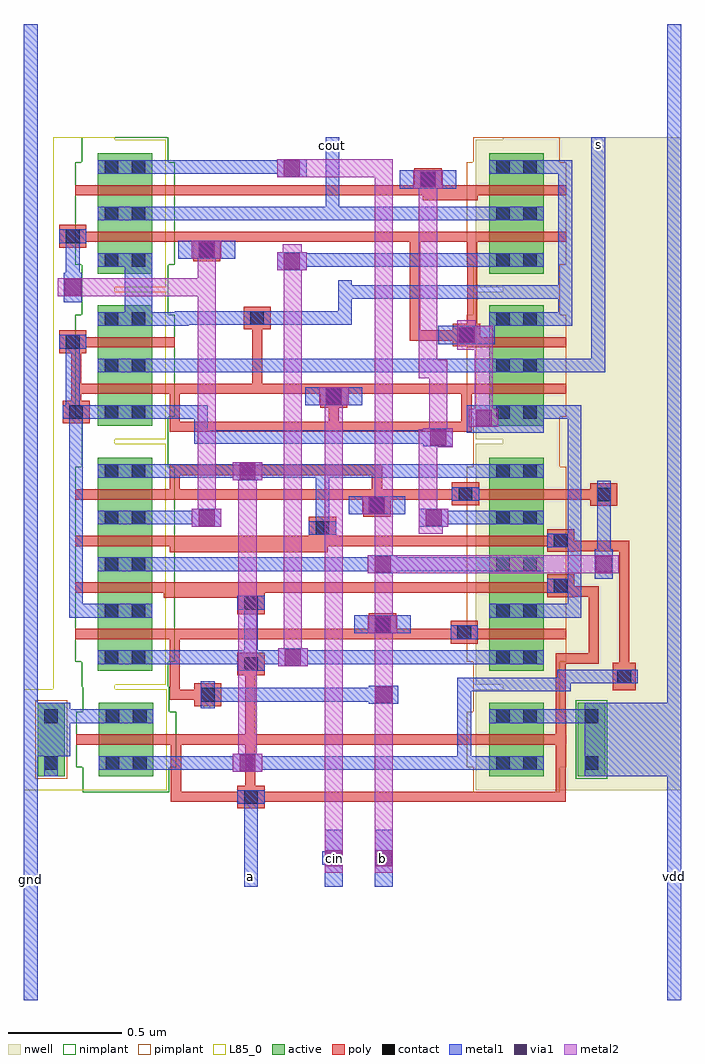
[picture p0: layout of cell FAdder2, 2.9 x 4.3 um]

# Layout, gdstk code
from math import pi, radians
import gdstk
lib = gdstk.Library(unit=1e-6, precision=5e-10)
def R(c, l, rs):  # rectangles x0, y0, x1, y1
    for r in rs: c.add(gdstk.rectangle(r[:2], r[2:], *l))
active = (1, 0)
nwell = (2, 0)
poly = (3, 0)
nimplant = (4, 0)
pimplant = (5, 0)
contact = (6, 0)
metal1 = (7, 0)
via1 = (8, 0)
metal2 = (9, 0)
L85_0 = (85, 0)

pmos1v_cdns_765592389490 = lib.new_cell('pmos1v_CDNS_765592389490')
R(pmos1v_cdns_765592389490, active, [(-0.14,0,0,0.24), (0,0,0.045,0.24), (0.045,0,0.095,0.24)])
R(pmos1v_cdns_765592389490, nwell, [(-0.2,-0.06,0.155,0.3)])
R(pmos1v_cdns_765592389490, poly, [(0,-0.1,0.045,-0.05), (0,-0.05,0.045,0), (0,0,0.045,0.24), (0,0.24,0.045,0.29), (0,0.29,0.045,0.34)])
R(pmos1v_cdns_765592389490, pimplant, [(-0.1,-0.1,0.145,0.34), (-0.21,-0.07,0.165,0.31)])
R(pmos1v_cdns_765592389490, contact, [(-0.11,0.03,-0.05,0.09), (-0.11,0.15,-0.05,0.21)])
R(pmos1v_cdns_765592389490, metal1, [(-0.11,0,-0.05,0.24)])

nmos1v_cdns_765592389491 = lib.new_cell('nmos1v_CDNS_765592389491')
R(nmos1v_cdns_765592389491, active, [(-0.14,0,0,0.24), (0,0,0.045,0.24), (0.045,0,0.185,0.24), (-0.14,0.39,0.185,0.51)])
R(nmos1v_cdns_765592389491, poly, [(0,-0.1,0.045,-0.05), (0,-0.05,0.045,0), (0,0,0.045,0.24), (0,0.24,0.045,0.29), (0,0.29,0.045,0.34)])
R(nmos1v_cdns_765592389491, nimplant, [(-0.1,-0.1,0.145,0.34), (-0.21,-0.07,0.255,0.31)])
R(nmos1v_cdns_765592389491, pimplant, [(-0.15,0.38,0.195,0.52)])
R(nmos1v_cdns_765592389491, contact, [(-0.11,0.03,-0.05,0.09), (0.095,0.03,0.155,0.09), (-0.11,0.15,-0.05,0.21), (0.095,0.15,0.155,0.21), (-0.11,0.42,-0.05,0.48), (0.095,0.42,0.155,0.48)])
R(nmos1v_cdns_765592389491, metal1, [(-0.11,0,-0.05,0.24), (0.095,0,0.155,0.24), (-0.14,0.42,0.185,0.48)])
R(nmos1v_cdns_765592389491, L85_0, [(-0.2,-0.06,0.245,0.57)])

nmos1v_cdns_765592389492 = lib.new_cell('nmos1v_CDNS_765592389492')
R(nmos1v_cdns_765592389492, active, [(-0.11,0,0,0.24), (0,0,0.045,0.24), (0.045,0,0.155,0.24)])
R(nmos1v_cdns_765592389492, poly, [(0,-0.1,0.045,-0.05), (0,-0.05,0.045,0), (0,0,0.045,0.24), (0,0.24,0.045,0.29), (0,0.29,0.045,0.34)])
R(nmos1v_cdns_765592389492, nimplant, [(-0.1,-0.1,0.145,0.34), (-0.18,-0.07,0.225,0.31)])
R(nmos1v_cdns_765592389492, contact, [(-0.11,0.03,-0.05,0.09), (0.095,0.03,0.155,0.09), (-0.11,0.15,-0.05,0.21), (0.095,0.15,0.155,0.21)])
R(nmos1v_cdns_765592389492, metal1, [(-0.11,0,-0.05,0.24), (0.095,0,0.155,0.24)])
R(nmos1v_cdns_765592389492, L85_0, [(-0.17,-0.06,0.215,0.3)])

nmos1v_cdns_765592389493 = lib.new_cell('nmos1v_CDNS_765592389493')
R(nmos1v_cdns_765592389493, active, [(-0.05,0,0,0.24), (0,0,0.045,0.24), (0.045,0,0.185,0.24)])
R(nmos1v_cdns_765592389493, poly, [(0,-0.1,0.045,-0.05), (0,-0.05,0.045,0), (0,0,0.045,0.24), (0,0.24,0.045,0.29), (0,0.29,0.045,0.34)])
R(nmos1v_cdns_765592389493, nimplant, [(-0.1,-0.1,0.145,0.34), (-0.12,-0.07,0.255,0.31)])
R(nmos1v_cdns_765592389493, contact, [(0.095,0.03,0.155,0.09), (0.095,0.15,0.155,0.21)])
R(nmos1v_cdns_765592389493, metal1, [(0.095,0,0.155,0.24)])
R(nmos1v_cdns_765592389493, L85_0, [(-0.11,-0.06,0.245,0.3)])

pmos1v_cdns_765592389494 = lib.new_cell('pmos1v_CDNS_765592389494')
R(pmos1v_cdns_765592389494, active, [(-0.05,0,0,0.24), (0,0,0.045,0.24), (0.045,0,0.155,0.24)])
R(pmos1v_cdns_765592389494, nwell, [(-0.11,-0.06,0.215,0.3)])
R(pmos1v_cdns_765592389494, poly, [(0,-0.1,0.045,-0.05), (0,-0.05,0.045,0), (0,0,0.045,0.24), (0,0.24,0.045,0.29), (0,0.29,0.045,0.34)])
R(pmos1v_cdns_765592389494, pimplant, [(-0.1,-0.1,0.145,0.34), (-0.12,-0.07,0.225,0.31)])
R(pmos1v_cdns_765592389494, contact, [(0.095,0.03,0.155,0.09), (0.095,0.15,0.155,0.21)])
R(pmos1v_cdns_765592389494, metal1, [(0.095,0,0.155,0.24)])

pmos1v_cdns_765592389495 = lib.new_cell('pmos1v_CDNS_765592389495')
R(pmos1v_cdns_765592389495, active, [(-0.14,0,0,0.24), (0,0,0.045,0.24), (0.045,0,0.095,0.24)])
R(pmos1v_cdns_765592389495, nwell, [(-0.2,-0.06,0.155,0.3)])
R(pmos1v_cdns_765592389495, poly, [(0,-0.1,0.045,-0.05), (0,-0.05,0.045,0), (0,0,0.045,0.24), (0,0.24,0.045,0.29), (0,0.29,0.045,0.34)])
R(pmos1v_cdns_765592389495, pimplant, [(-0.1,-0.1,0.145,0.34), (-0.21,-0.07,0.165,0.31)])
R(pmos1v_cdns_765592389495, contact, [(-0.11,0.03,-0.05,0.09), (-0.11,0.15,-0.05,0.21)])
R(pmos1v_cdns_765592389495, metal1, [(-0.11,0,-0.05,0.24)])

nmos1v_cdns_765592389496 = lib.new_cell('nmos1v_CDNS_765592389496')
R(nmos1v_cdns_765592389496, active, [(-0.05,0,0,0.24), (0,0,0.045,0.24), (0.045,0,0.095,0.24)])
R(nmos1v_cdns_765592389496, poly, [(0,-0.1,0.045,-0.05), (0,-0.05,0.045,0), (0,0,0.045,0.24), (0,0.24,0.045,0.29), (0,0.29,0.045,0.34)])
R(nmos1v_cdns_765592389496, nimplant, [(-0.1,-0.1,0.145,0.34), (-0.12,-0.07,0.165,0.31)])
R(nmos1v_cdns_765592389496, L85_0, [(-0.11,-0.06,0.155,0.3)])

pmos1v_cdns_765592389497 = lib.new_cell('pmos1v_CDNS_765592389497')
R(pmos1v_cdns_765592389497, active, [(-0.11,0,0,0.24), (0,0,0.045,0.24), (0.045,0,0.155,0.24)])
R(pmos1v_cdns_765592389497, nwell, [(-0.17,-0.06,0.215,0.3)])
R(pmos1v_cdns_765592389497, poly, [(0,-0.1,0.045,-0.05), (0,-0.05,0.045,0), (0,0,0.045,0.24), (0,0.24,0.045,0.29), (0,0.29,0.045,0.34)])
R(pmos1v_cdns_765592389497, pimplant, [(-0.1,-0.1,0.145,0.34), (-0.18,-0.07,0.225,0.31)])
R(pmos1v_cdns_765592389497, contact, [(-0.11,0.03,-0.05,0.09), (0.095,0.03,0.155,0.09), (-0.11,0.15,-0.05,0.21), (0.095,0.15,0.155,0.21)])
R(pmos1v_cdns_765592389497, metal1, [(-0.11,0,-0.05,0.24), (0.095,0,0.155,0.24)])

pmos1v_cdns_765592389498 = lib.new_cell('pmos1v_CDNS_765592389498')
R(pmos1v_cdns_765592389498, active, [(-0.14,-0.27,0.185,-0.15), (-0.14,0,0,0.24), (0,0,0.045,0.24), (0.045,0,0.185,0.24)])
R(pmos1v_cdns_765592389498, nwell, [(-0.2,-0.33,0.245,0.3)])
R(pmos1v_cdns_765592389498, poly, [(0,-0.1,0.045,-0.05), (0,-0.05,0.045,0), (0,0,0.045,0.24), (0,0.24,0.045,0.29), (0,0.29,0.045,0.34)])
R(pmos1v_cdns_765592389498, nimplant, [(-0.15,-0.28,0.195,-0.14)])
R(pmos1v_cdns_765592389498, pimplant, [(-0.1,-0.1,0.145,0.34), (-0.21,-0.07,0.255,0.31)])
R(pmos1v_cdns_765592389498, contact, [(-0.11,-0.24,-0.05,-0.18), (0.095,-0.24,0.155,-0.18), (-0.11,0.03,-0.05,0.09), (0.095,0.03,0.155,0.09), (-0.11,0.15,-0.05,0.21), (0.095,0.15,0.155,0.21)])
R(pmos1v_cdns_765592389498, metal1, [(-0.14,-0.24,0.185,-0.18), (-0.11,0,-0.05,0.24), (0.095,0,0.155,0.24)])

pmos1v_cdns_765592389499 = lib.new_cell('pmos1v_CDNS_765592389499')
R(pmos1v_cdns_765592389499, active, [(-0.14,0,0,0.24), (0,0,0.045,0.24), (0.045,0,0.155,0.24)])
R(pmos1v_cdns_765592389499, nwell, [(-0.2,-0.06,0.215,0.3)])
R(pmos1v_cdns_765592389499, poly, [(0,-0.1,0.045,-0.05), (0,-0.05,0.045,0), (0,0,0.045,0.24), (0,0.24,0.045,0.29), (0,0.29,0.045,0.34)])
R(pmos1v_cdns_765592389499, pimplant, [(-0.1,-0.1,0.145,0.34), (-0.21,-0.07,0.225,0.31)])
R(pmos1v_cdns_765592389499, contact, [(-0.11,0.03,-0.05,0.09), (0.095,0.03,0.155,0.09), (-0.11,0.15,-0.05,0.21), (0.095,0.15,0.155,0.21)])
R(pmos1v_cdns_765592389499, metal1, [(-0.11,0,-0.05,0.24), (0.095,0,0.155,0.24)])

c_nmos1v_cdns_765592389491 = lib.new_cell('nmos1v_CDNS_7655923894910')
R(c_nmos1v_cdns_765592389491, active, [(-0.11,0,0,0.24), (0,0,0.045,0.24), (0.045,0,0.185,0.24)])
R(c_nmos1v_cdns_765592389491, poly, [(0,-0.1,0.045,-0.05), (0,-0.05,0.045,0), (0,0,0.045,0.24), (0,0.24,0.045,0.29), (0,0.29,0.045,0.34)])
R(c_nmos1v_cdns_765592389491, nimplant, [(-0.1,-0.1,0.145,0.34), (-0.18,-0.07,0.255,0.31)])
R(c_nmos1v_cdns_765592389491, contact, [(-0.11,0.03,-0.05,0.09), (0.095,0.03,0.155,0.09), (-0.11,0.15,-0.05,0.21), (0.095,0.15,0.155,0.21)])
R(c_nmos1v_cdns_765592389491, metal1, [(-0.11,0,-0.05,0.24), (0.095,0,0.155,0.24)])
R(c_nmos1v_cdns_765592389491, L85_0, [(-0.17,-0.06,0.245,0.3)])

m1_po_cdns_765592389490 = lib.new_cell('M1_PO_CDNS_765592389490')
R(m1_po_cdns_765592389490, poly, [(-0.05,-0.06,0.05,0.06)])
R(m1_po_cdns_765592389490, contact, [(-0.03,-0.03,0.03,0.03)])
R(m1_po_cdns_765592389490, metal1, [(-0.03,-0.06,0.03,0.06)])

m2_m1_cdns_765592389491 = lib.new_cell('M2_M1_CDNS_765592389491')
R(m2_m1_cdns_765592389491, metal1, [(-0.04,-0.065,0.04,0.065)])
R(m2_m1_cdns_765592389491, via1, [(-0.035,-0.035,0.035,0.035)])
R(m2_m1_cdns_765592389491, metal2, [(-0.04,-0.065,0.04,0.065)])

m2_m1_cdns_765592389492 = lib.new_cell('M2_M1_CDNS_765592389492')
R(m2_m1_cdns_765592389492, metal1, [(-0.04,-0.125,0.04,0.125)])
R(m2_m1_cdns_765592389492, via1, [(-0.035,-0.035,0.035,0.035)])
R(m2_m1_cdns_765592389492, metal2, [(-0.04,-0.065,0.04,0.065)])

m1_po_cdns_765592389493 = lib.new_cell('M1_PO_CDNS_765592389493')
R(m1_po_cdns_765592389493, poly, [(-0.05,-0.06,0.05,0.06)])
R(m1_po_cdns_765592389493, contact, [(-0.03,-0.03,0.03,0.03)])
R(m1_po_cdns_765592389493, metal1, [(-0.04,-0.125,0.04,0.125)])

m2_m1_cdns_765592389494 = lib.new_cell('M2_M1_CDNS_765592389494')
R(m2_m1_cdns_765592389494, metal1, [(-0.04,-0.065,0.04,0.065)])
R(m2_m1_cdns_765592389494, via1, [(-0.035,-0.035,0.035,0.035)])
R(m2_m1_cdns_765592389494, metal2, [(-0.065,-0.04,0.065,0.04)])

m2_m1_cdns_765592389495 = lib.new_cell('M2_M1_CDNS_765592389495')
R(m2_m1_cdns_765592389495, metal1, [(-0.125,-0.04,0.125,0.04)])
R(m2_m1_cdns_765592389495, via1, [(-0.035,-0.035,0.035,0.035)])
R(m2_m1_cdns_765592389495, metal2, [(-0.065,-0.04,0.065,0.04)])

m1_po_cdns_765592389496 = lib.new_cell('M1_PO_CDNS_765592389496')
R(m1_po_cdns_765592389496, poly, [(-0.06,-0.05,0.06,0.05)])
R(m1_po_cdns_765592389496, contact, [(-0.03,-0.03,0.03,0.03)])
R(m1_po_cdns_765592389496, metal1, [(-0.06,-0.03,0.06,0.03)])

m1_po_cdns_765592389497 = lib.new_cell('M1_PO_CDNS_765592389497')
R(m1_po_cdns_765592389497, poly, [(-0.05,-0.06,0.05,0.06)])
R(m1_po_cdns_765592389497, contact, [(-0.03,-0.03,0.03,0.03)])
R(m1_po_cdns_765592389497, metal1, [(-0.06,-0.03,0.06,0.03)])

m1_po_cdns_765592389498 = lib.new_cell('M1_PO_CDNS_765592389498')
R(m1_po_cdns_765592389498, poly, [(-0.06,-0.05,0.06,0.05)])
R(m1_po_cdns_765592389498, contact, [(-0.03,-0.03,0.03,0.03)])
R(m1_po_cdns_765592389498, metal1, [(-0.03,-0.06,0.03,0.06)])

m2_m1_cdns_765592389499 = lib.new_cell('M2_M1_CDNS_765592389499')
R(m2_m1_cdns_765592389499, metal1, [(-0.065,-0.04,0.065,0.04)])
R(m2_m1_cdns_765592389499, via1, [(-0.035,-0.035,0.035,0.035)])
R(m2_m1_cdns_765592389499, metal2, [(-0.04,-0.065,0.04,0.065)])

fadder2 = lib.new_cell('FAdder2')
R(fadder2, nwell, [(3.165,1.355,3.44,4.23), (2.655,1.7,2.895,1.865), (2.895,1.8,3.165,4.23), (2.655,2.855,2.895,2.93), (2.655,3.525,2.895,3.6), (2.655,4.195,2.895,4.23)])
R(fadder2, metal1, [(0.545,0.93,0.605,0.99), (1.515,0.93,1.575,0.99), (3.38,0.945,3.44,1.005), (1.885,1.025,1.945,1.085), (2.095,1.025,2.155,1.085), (1.875,4.17,1.935,4.23), (3.045,4.17,3.105,4.23)])
R(fadder2, L85_0, [(0.675,1.8,0.945,4.23)])
fadder2.add(gdstk.FlexPath([(2.52,3.36),(2.52,3.3225)], 0.045, ends=(0.0225, 0.0175), simple_path=True, layer=3, datatype=0))  # poly
fadder2.add(gdstk.FlexPath([(2.495,3.36),(2.52,3.36)], 0.045, ends="extended", simple_path=True, layer=3, datatype=0))  # poly
fadder2.add(gdstk.FlexPath([(2.52,3.815),(2.52,3.305)], 0.045, ends="flush", simple_path=True, layer=3, datatype=0))  # poly
fadder2.add(gdstk.FlexPath([(0.76,3.7925),(0.76,3.795)], 0.045, ends="flush", simple_path=True, layer=3, datatype=0))  # poly
fadder2.add(gdstk.FlexPath([(0.82,3.7925),(0.76,3.7925)], 0.045, ends=(0, 0.06), simple_path=True, layer=3, datatype=0))  # poly
fadder2.add(gdstk.FlexPath([(1.545,1.325),(1.5425,1.325)], 0.045, ends="extended", simple_path=True, layer=3, datatype=0))  # poly
fadder2.add(gdstk.FlexPath([(1.5425,1.91),(1.545,1.91)], 0.045, ends="extended", simple_path=True, layer=3, datatype=0))  # poly
fadder2.add(gdstk.FlexPath([(1.215,1.325),(1.215,1.6)], 0.045, ends=(0.0225, 0), simple_path=True, layer=3, datatype=0))  # poly
fadder2.add(gdstk.FlexPath([(1.545,1.325),(1.215,1.325)], 0.045, ends="extended", simple_path=True, layer=3, datatype=0))  # poly
fadder2.add(gdstk.FlexPath([(3.055,2.23),(2.885,2.23)], 0.045, ends=(0.0225, 0), simple_path=True, layer=3, datatype=0))  # poly
fadder2.add(gdstk.FlexPath([(3.055,1.935),(3.055,2.23)], 0.045, ends="extended", simple_path=True, layer=3, datatype=0))  # poly
fadder2.add(gdstk.FlexPath([(2.91,1.935),(3.055,1.935)], 0.045, ends="extended", simple_path=True, layer=3, datatype=0))  # poly
fadder2.add(gdstk.FlexPath([(2.91,1.555),(2.91,1.935)], 0.045, ends=(0, 0.0225), simple_path=True, layer=3, datatype=0))  # poly
fadder2.add(gdstk.FlexPath([(1.545,2.225),(1.1825,2.225)], 0.045, ends="extended", simple_path=True, layer=3, datatype=0))  # poly
fadder2.add(gdstk.FlexPath([(1.545,2.18),(1.545,2.225)], 0.045, ends="extended", simple_path=True, layer=3, datatype=0))  # poly
fadder2.add(gdstk.FlexPath([(2.91,2.25),(2.91,2.255)], 0.045, ends="flush", simple_path=True, layer=3, datatype=0))  # poly
fadder2.add(gdstk.FlexPath([(2.91,1.325),(1.545,1.325)], 0.045, ends="extended", simple_path=True, layer=3, datatype=0))  # poly
fadder2.add(gdstk.FlexPath([(2.91,1.6),(2.91,1.325)], 0.045, ends=(0, 0.0225), simple_path=True, layer=3, datatype=0))  # poly
fadder2.add(gdstk.FlexPath([(1.21,2.765),(1.21,2.635)], 0.045, ends=(0.0225, 0), simple_path=True, layer=3, datatype=0))  # poly
fadder2.add(gdstk.FlexPath([(2.1,2.765),(1.21,2.765)], 0.045, ends="extended", simple_path=True, layer=3, datatype=0))  # poly
fadder2.add(gdstk.FlexPath([(2.1,2.61),(2.1,2.765)], 0.045, ends="extended", simple_path=True, layer=3, datatype=0))  # poly
fadder2.add(gdstk.FlexPath([(2.125,2.0425),(2.125,2.085)], 0.045, ends="extended", simple_path=True, layer=3, datatype=0))  # poly
fadder2.add(gdstk.FlexPath([(2.5225,2.0425),(2.125,2.0425)], 0.045, ends="extended", simple_path=True, layer=3, datatype=0))  # poly
fadder2.add(gdstk.FlexPath([(2.5075,3.3275),(2.5075,3.3575)], 0.045, ends=(0, 0.0225), simple_path=True, layer=3, datatype=0))  # poly
fadder2.add(gdstk.FlexPath([(0.76,3.3275),(0.76,3.33)], 0.045, ends="flush", simple_path=True, layer=3, datatype=0))  # poly
fadder2.add(gdstk.FlexPath([(1.91,3.09),(1.91,2.955)], 0.045, ends="extended", simple_path=True, layer=3, datatype=0))  # poly
fadder2.add(gdstk.FlexPath([(2.545,3.975),(2.325,3.975)], 0.045, ends=(0, 0.0225), simple_path=True, layer=3, datatype=0))  # poly
fadder2.add(gdstk.FlexPath([(2.325,3.975),(2.325,4.045)], 0.045, ends="extended", simple_path=True, layer=3, datatype=0))  # poly
fadder2.add(gdstk.FlexPath([(2.6375,3.9975),(2.64,3.9975)], 0.045, ends="flush", simple_path=True, layer=3, datatype=0))  # poly
fadder2.add(gdstk.FlexPath([(2.325,3.9975),(2.325,4.045)], 0.045, ends=(0.0225, 0.05), simple_path=True, layer=3, datatype=0))  # poly
fadder2.add(gdstk.FlexPath([(2.6375,3.9975),(2.325,3.9975)], 0.045, ends="extended", simple_path=True, layer=3, datatype=0))  # poly
fadder2.add(gdstk.FlexPath([(2.495,2.955),(2.495,3.145)], 0.045, ends=(0.0225, 0), simple_path=True, layer=3, datatype=0))  # poly
fadder2.add(gdstk.FlexPath([(1.91,2.955),(1.21,2.955)], 0.045, ends="extended", simple_path=True, layer=3, datatype=0))  # poly
fadder2.add(gdstk.FlexPath([(1.21,2.955),(1.21,3.145)], 0.045, ends=(0.0225, 0), simple_path=True, layer=3, datatype=0))  # poly
fadder2.add(gdstk.FlexPath([(2.64,3.1225),(1.5725,3.1225)], 0.045, ends=(0.0225, 0), simple_path=True, layer=3, datatype=0))  # poly
fadder2.add(gdstk.FlexPath([(1.5725,3.1225),(1.185,3.1225)], 0.045, ends=(0.0225, 0), simple_path=True, layer=3, datatype=0))  # poly
fadder2.add(gdstk.FlexPath([(2.2675,3.7925),(1.185,3.7925)], 0.045, ends=(0.0225, 0), simple_path=True, layer=3, datatype=0))  # poly
fadder2.add(gdstk.FlexPath([(1.185,3.9975),(2.6375,3.9975)], 0.045, ends="flush", simple_path=True, layer=3, datatype=0))  # poly
fadder2.add(gdstk.FlexPath([(2.485,2.045),(2.485,2.05)], 0.045, ends="flush", simple_path=True, layer=3, datatype=0))  # poly
fadder2.add(gdstk.FlexPath([(1.21,1.775),(1.21,2.065)], 0.045, ends=(0.0225, 0), simple_path=True, layer=3, datatype=0))  # poly
fadder2.add(gdstk.FlexPath([(1.5725,3.1225),(1.5725,3.435)], 0.045, ends=(0.0225, 0.05), simple_path=True, layer=3, datatype=0))  # poly
fadder2.add(gdstk.FlexPath([(0.775,3.02),(0.775,3.3275)], 0.045, ends=(0.05, 0.0225), simple_path=True, layer=3, datatype=0))  # poly
fadder2.add(gdstk.FlexPath([(0.775,3.3275),(0.89,3.3275)], 0.045, ends=(0.0225, 0), simple_path=True, layer=3, datatype=0))  # poly
fadder2.add(gdstk.FlexPath([(1.355,1.775),(1.21,1.775)], 0.045, ends=(0.06, 0.0225), simple_path=True, layer=3, datatype=0))  # poly
fadder2.add(gdstk.FlexPath([(2.885,2.43),(3.19,2.43)], 0.045, ends=(0, 0.0225), simple_path=True, layer=3, datatype=0))  # poly
fadder2.add(gdstk.FlexPath([(1.5425,1.91),(1.5425,1.325)], 0.045, ends="flush", simple_path=True, layer=3, datatype=0))  # poly
fadder2.add(gdstk.FlexPath([(3.19,2.43),(3.19,1.855)], 0.045, ends=(0.0225, 0.06), simple_path=True, layer=3, datatype=0))  # poly
fadder2.add(gdstk.FlexPath([(3.1,2.6575),(2.9075,2.6575)], 0.045, ends=(0.06, 0.0225), simple_path=True, layer=3, datatype=0))  # poly
fadder2.add(gdstk.FlexPath([(2.64,3.7925),(2.2675,3.7925)], 0.045, ends="extended", simple_path=True, layer=3, datatype=0))  # poly
fadder2.add(gdstk.FlexPath([(2.2675,3.3575),(2.2675,3.7925)], 0.045, ends="extended", simple_path=True, layer=3, datatype=0))  # poly
fadder2.add(gdstk.FlexPath([(1.185,2.0425),(2.64,2.0425)], 0.045, ends="flush", simple_path=True, layer=3, datatype=0))  # poly
fadder2.add(gdstk.FlexPath([(1.185,2.6575),(2.64,2.6575)], 0.045, ends="flush", simple_path=True, layer=3, datatype=0))  # poly
fadder2.add(gdstk.FlexPath([(2.5075,3.3575),(2.2675,3.3575)], 0.045, ends="extended", simple_path=True, layer=3, datatype=0))  # poly
fadder2.add(gdstk.FlexPath([(1.91,2.955),(2.495,2.955)], 0.045, ends="extended", simple_path=True, layer=3, datatype=0))  # poly
fadder2.add(gdstk.FlexPath([(1.185,2.4525),(2.64,2.4525)], 0.045, ends="flush", simple_path=True, layer=3, datatype=0))  # poly
fadder2.add(gdstk.FlexPath([(2.64,1.5775),(1.185,1.5775)], 0.045, ends=(0.0225, 0), simple_path=True, layer=3, datatype=0))  # poly
fadder2.add(gdstk.FlexPath([(1.185,2.2475),(2.64,2.2475)], 0.045, ends="flush", simple_path=True, layer=3, datatype=0))  # poly
fadder2.add(gdstk.FlexPath([(1.86,2.425),(1.21,2.425)], 0.045, ends="extended", simple_path=True, layer=3, datatype=0))  # poly
fadder2.add(gdstk.FlexPath([(1.21,2.425),(1.21,2.475)], 0.045, ends=(0.0225, 0), simple_path=True, layer=3, datatype=0))  # poly
fadder2.add(gdstk.FlexPath([(1.86,2.51),(1.86,2.425)], 0.045, ends="extended", simple_path=True, layer=3, datatype=0))  # poly
fadder2.add(gdstk.FlexPath([(0.82,3.3275),(0.76,3.3275)], 0.045, ends=(0, 0.06), simple_path=True, layer=3, datatype=0))  # poly
fadder2.add(gdstk.FlexPath([(0.76,3.57),(0.76,3.795)], 0.06, ends=(0.065, 0.03), simple_path=True, layer=7, datatype=0))  # metal1
fadder2.add(gdstk.FlexPath([(2.775,1.94),(1.73,1.94)], 0.06, ends=(0.03, 0.065), simple_path=True, layer=7, datatype=0))  # metal1
fadder2.add(gdstk.FlexPath([(2.97,2.115),(2.97,2.145)], 0.06, ends=(0, 0.03), simple_path=True, layer=7, datatype=0))  # metal1
fadder2.add(gdstk.FlexPath([(2.775,2.99),(2.57,2.99)], 0.12, ends=(0.06, 0), simple_path=True, layer=7, datatype=0))  # metal1
fadder2.add(gdstk.FlexPath([(2.97,2.145),(2.97,3.02)], 0.06, ends=(0, 0.03), simple_path=True, layer=7, datatype=0))  # metal1
fadder2.add(gdstk.FlexPath([(1.545,0.98),(1.515,0.98)], 0.06, ends=(0.03, 0), simple_path=True, layer=7, datatype=0))  # metal1
fadder2.add(gdstk.FlexPath([(2.57,2.99),(2.57,2.995)], 0.06, ends=(0.03, 0.04), simple_path=True, layer=7, datatype=0))  # metal1
fadder2.add(gdstk.FlexPath([(2.57,2.99),(2.495,2.99)], 0.12, ends=(0.06, 0), simple_path=True, layer=7, datatype=0))  # metal1
fadder2.add(gdstk.FlexPath([(1.11,2.555),(1.35,2.555)], 0.06, ends=(0, 0.065), simple_path=True, layer=7, datatype=0))  # metal1
fadder2.add(gdstk.FlexPath([(1.725,3.685),(1.74,3.685)], 0.06, ends=(0.065, 0.03), simple_path=True, layer=7, datatype=0))  # metal1
fadder2.add(gdstk.FlexPath([(1.74,3.69),(2.775,3.69)], 0.06, ends="extended", simple_path=True, layer=7, datatype=0))  # metal1
fadder2.add(gdstk.FlexPath([(1.545,1.94),(1.05,1.94)], 0.06, ends=(0.03, 0), simple_path=True, layer=7, datatype=0))  # metal1
fadder2.add(gdstk.FlexPath([(1.73,1.94),(1.545,1.94)], 0.06, ends=(0.065, 0), simple_path=True, layer=7, datatype=0))  # metal1
fadder2.add(gdstk.FlexPath([(1.185,3.02),(1.325,3.02)], 0.06, ends="flush", simple_path=True, layer=7, datatype=0))  # metal1
fadder2.add(gdstk.FlexPath([(0.76,3.33),(0.76,3.02)], 0.06, ends="extended", simple_path=True, layer=7, datatype=0))  # metal1
fadder2.add(gdstk.FlexPath([(1.545,1.94),(1.545,1.91)], 0.06, ends="extended", simple_path=True, layer=7, datatype=0))  # metal1
fadder2.add(gdstk.FlexPath([(1.05,2.35),(2.125,2.35)], 0.06, ends=(0, 0.065), simple_path=True, layer=7, datatype=0))  # metal1
fadder2.add(gdstk.FlexPath([(2.125,2.35),(2.775,2.35)], 0.06, ends=(0.065, 0), simple_path=True, layer=7, datatype=0))  # metal1
fadder2.add(gdstk.FlexPath([(1.05,2.76),(1.53,2.76)], 0.06, ends=(0, 0.065), simple_path=True, layer=7, datatype=0))  # metal1
fadder2.add(gdstk.FlexPath([(0.76,3.02),(1.185,3.02)], 0.06, ends="extended", simple_path=True, layer=7, datatype=0))  # metal1
fadder2.add(gdstk.FlexPath([(1.53,1.475),(1.05,1.475)], 0.06, ends=(0.065, 0), simple_path=True, layer=7, datatype=0))  # metal1
fadder2.add(gdstk.FlexPath([(1.53,2.76),(1.86,2.76)], 0.06, ends=(0.065, 0.03), simple_path=True, layer=7, datatype=0))  # metal1
fadder2.add(gdstk.FlexPath([(3.41,0.43),(3.41,4.73)], 0.06, ends="flush", simple_path=True, layer=7, datatype=0))  # metal1
fadder2.add(gdstk.FlexPath([(3.105,3.225),(3.075,3.225)], 0.06, ends="flush", simple_path=True, layer=7, datatype=0))  # metal1
fadder2.add(gdstk.FlexPath([(3.075,3.225),(2.835,3.225)], 0.06, ends="flush", simple_path=True, layer=7, datatype=0))  # metal1
fadder2.add(gdstk.FlexPath([(1.325,3.05),(1.325,3.02)], 0.06, ends=(0, 0.03), simple_path=True, layer=7, datatype=0))  # metal1
fadder2.add(gdstk.FlexPath([(1.325,3.02),(1.325,2.91)], 0.06, ends=(0, 0.03), simple_path=True, layer=7, datatype=0))  # metal1
fadder2.add(gdstk.FlexPath([(1.11,3.02),(1.185,3.02)], 0.06, ends="flush", simple_path=True, layer=7, datatype=0))  # metal1
fadder2.add(gdstk.FlexPath([(0.575,0.43),(0.575,4.73)], 0.06, ends="flush", simple_path=True, layer=7, datatype=0))  # metal1
fadder2.add(gdstk.FlexPath([(2.93,3.55),(2.93,4.1)], 0.06, ends=(0.03, 0), simple_path=True, layer=7, datatype=0))  # metal1
fadder2.add(gdstk.FlexPath([(1.96,3.57),(1.96,3.55)], 0.06, ends=(0, 0.03), simple_path=True, layer=7, datatype=0))  # metal1
fadder2.add(gdstk.FlexPath([(1.24,3.435),(1.5725,3.435)], 0.06, ends=(0.03, 0.06), simple_path=True, layer=7, datatype=0))  # metal1
fadder2.add(gdstk.FlexPath([(1.5725,3.435),(1.96,3.435)], 0.06, ends=(0.06, 0.03), simple_path=True, layer=7, datatype=0))  # metal1
fadder2.add(gdstk.FlexPath([(1.905,3.895),(1.05,3.895)], 0.06, ends="extended", simple_path=True, layer=7, datatype=0))  # metal1
fadder2.add(gdstk.FlexPath([(1.96,3.435),(1.96,3.57)], 0.06, ends="extended", simple_path=True, layer=7, datatype=0))  # metal1
fadder2.add(gdstk.FlexPath([(2.93,3.43),(2.93,4.1)], 0.06, ends="extended", simple_path=True, layer=7, datatype=0))  # metal1
fadder2.add(gdstk.FlexPath([(1.96,3.55),(2.93,3.55)], 0.06, ends="extended", simple_path=True, layer=7, datatype=0))  # metal1
fadder2.add(gdstk.FlexPath([(1.24,3.43),(1.24,3.435)], 0.06, ends="extended", simple_path=True, layer=7, datatype=0))  # metal1
fadder2.add(gdstk.FlexPath([(1.05,3.43),(1.24,3.43)], 0.06, ends=(0, 0.03), simple_path=True, layer=7, datatype=0))  # metal1
fadder2.add(gdstk.FlexPath([(1.725,4.1),(1.725,4.095)], 0.06, ends=(0.03, 0.04), simple_path=True, layer=7, datatype=0))  # metal1
fadder2.add(gdstk.FlexPath([(2.775,1.475),(2.485,1.475)], 0.06, ends=(0, 0.03), simple_path=True, layer=7, datatype=0))  # metal1
fadder2.add(gdstk.FlexPath([(2.715,2.555),(2.35,2.555)], 0.06, ends=(0, 0.065), simple_path=True, layer=7, datatype=0))  # metal1
fadder2.add(gdstk.FlexPath([(2.13,1.775),(1.355,1.775)], 0.06, ends=(0.065, 0.03), simple_path=True, layer=7, datatype=0))  # metal1
fadder2.add(gdstk.FlexPath([(1.325,2.91),(2.37,2.91)], 0.06, ends=(0.03, 0.065), simple_path=True, layer=7, datatype=0))  # metal1
fadder2.add(gdstk.FlexPath([(1.05,3.225),(2.775,3.225)], 0.06, ends="flush", simple_path=True, layer=7, datatype=0))  # metal1
fadder2.add(gdstk.FlexPath([(1.92,1.055),(1.9,1.055)], 0.06, ends=(0.03, 0.04), simple_path=True, layer=7, datatype=0))  # metal1
fadder2.add(gdstk.FlexPath([(2.485,1.475),(1.53,1.475)], 0.06, ends=(0, 0.065), simple_path=True, layer=7, datatype=0))  # metal1
fadder2.add(gdstk.FlexPath([(0.775,3.02),(0.99,3.02)], 0.06, ends=(0.06, 0), simple_path=True, layer=7, datatype=0))  # metal1
fadder2.add(gdstk.FlexPath([(0.99,2.145),(0.775,2.145)], 0.06, ends=(0, 0.03), simple_path=True, layer=7, datatype=0))  # metal1
fadder2.add(gdstk.FlexPath([(0.775,2.145),(0.775,3.02)], 0.06, ends="extended", simple_path=True, layer=7, datatype=0))  # metal1
fadder2.add(gdstk.FlexPath([(1.545,1.325),(1.545,0.98)], 0.06, ends=(0, 0.03), simple_path=True, layer=7, datatype=0))  # metal1
fadder2.add(gdstk.FlexPath([(1.545,2.18),(1.545,1.94)], 0.06, ends="extended", simple_path=True, layer=7, datatype=0))  # metal1
fadder2.add(gdstk.FlexPath([(1.74,3.685),(1.74,3.69)], 0.06, ends="extended", simple_path=True, layer=7, datatype=0))  # metal1
fadder2.add(gdstk.FlexPath([(2.125,1.055),(2.13,1.055)], 0.06, ends=(0.03, 0.04), simple_path=True, layer=7, datatype=0))  # metal1
fadder2.add(gdstk.FlexPath([(2.835,3.43),(2.93,3.43)], 0.06, ends=(0, 0.03), simple_path=True, layer=7, datatype=0))  # metal1
fadder2.add(gdstk.FlexPath([(2.835,2.145),(2.97,2.145)], 0.06, ends="flush", simple_path=True, layer=7, datatype=0))  # metal1
fadder2.add(gdstk.FlexPath([(2.97,3.02),(2.835,3.02)], 0.06, ends=(0.03, 0), simple_path=True, layer=7, datatype=0))  # metal1
fadder2.add(gdstk.FlexPath([(1.905,4.17),(1.905,3.895)], 0.06, ends=(0, 0.03), simple_path=True, layer=7, datatype=0))  # metal1
fadder2.add(gdstk.FlexPath([(3.1,2.35),(3.1,2.6575)], 0.06, ends=(0.065, 0.06), simple_path=True, layer=7, datatype=0))  # metal1
fadder2.add(gdstk.FlexPath([(3.075,1.5775),(3.36,1.5775)], 0.325, ends=(0, 0.03), simple_path=True, layer=7, datatype=0))  # metal1
fadder2.add(gdstk.FlexPath([(2.775,3.895),(1.905,3.895)], 0.06, ends="extended", simple_path=True, layer=7, datatype=0))  # metal1
fadder2.add(gdstk.FlexPath([(3.19,1.855),(2.925,1.855)], 0.06, ends=(0.06, 0.03), simple_path=True, layer=7, datatype=0))  # metal1
fadder2.add(gdstk.FlexPath([(1.05,3.66),(1.05,3.46)], 0.12, ends="flush", simple_path=True, layer=7, datatype=0))  # metal1
fadder2.add(gdstk.FlexPath([(3.075,4.17),(3.075,3.225)], 0.06, ends="flush", simple_path=True, layer=7, datatype=0))  # metal1
fadder2.add(gdstk.FlexPath([(2.93,4.1),(2.76,4.1)], 0.06, ends=(0.03, 0), simple_path=True, layer=7, datatype=0))  # metal1
fadder2.add(gdstk.FlexPath([(2.925,1.855),(2.925,1.82)], 0.06, ends="extended", simple_path=True, layer=7, datatype=0))  # metal1
fadder2.add(gdstk.FlexPath([(2.925,1.82),(2.485,1.82)], 0.06, ends="extended", simple_path=True, layer=7, datatype=0))  # metal1
fadder2.add(gdstk.FlexPath([(2.485,1.82),(2.485,1.475)], 0.06, ends="extended", simple_path=True, layer=7, datatype=0))  # metal1
fadder2.add(gdstk.FlexPath([(1.86,2.76),(1.86,2.51)], 0.06, ends="extended", simple_path=True, layer=7, datatype=0))  # metal1
fadder2.add(gdstk.FlexPath([(0.75,1.6225),(0.63,1.6225)], 0.235, ends=(0, 0.03), simple_path=True, layer=7, datatype=0))  # metal1
fadder2.add(gdstk.FlexPath([(1.05,4.1),(1.725,4.1)], 0.06, ends=(0, 0.03), simple_path=True, layer=7, datatype=0))  # metal1
fadder2.add(gdstk.FlexPath([(0.99,1.68),(0.75,1.68)], 0.06, ends="flush", simple_path=True, layer=7, datatype=0))  # metal1
fadder2.add(gdstk.FlexPath([(2.715,1.68),(3.015,1.68)], 0.06, ends="flush", simple_path=True, layer=7, datatype=0))  # metal1
fadder2.add(gdstk.FlexPath([(1.86,2.76),(2.775,2.76)], 0.06, ends="extended", simple_path=True, layer=7, datatype=0))  # metal1
fadder2.add(gdstk.FlexPath([(1.35,2.555),(1.35,3.57)], 0.08, ends="extended", simple_path=True, layer=9, datatype=0))  # metal2
fadder2.add(gdstk.FlexPath([(2.51,3.36),(2.495,3.36)], 0.08, ends="extended", simple_path=True, layer=9, datatype=0))  # metal2
fadder2.add(gdstk.FlexPath([(1.35,3.57),(0.76,3.57)], 0.08, ends=(0.04, 0.065), simple_path=True, layer=9, datatype=0))  # metal2
fadder2.add(gdstk.FlexPath([(1.35,3.57),(1.35,3.735)], 0.08, ends="extended", simple_path=True, layer=9, datatype=0))  # metal2
fadder2.add(gdstk.FlexPath([(1.725,3.72),(1.73,3.72)], 0.08, ends="extended", simple_path=True, layer=9, datatype=0))  # metal2
fadder2.add(gdstk.FlexPath([(1.725,3.685),(1.725,3.72)], 0.08, ends="extended", simple_path=True, layer=9, datatype=0))  # metal2
fadder2.add(gdstk.FlexPath([(2.13,1.055),(2.13,1.775)], 0.08, ends=(0.065, 0.065), simple_path=True, layer=9, datatype=0))  # metal2
fadder2.add(gdstk.FlexPath([(2.13,2.35),(2.13,2.61)], 0.08, ends=(0, 0.04), simple_path=True, layer=9, datatype=0))  # metal2
fadder2.add(gdstk.FlexPath([(2.13,2.085),(2.13,2.35)], 0.08, ends="extended", simple_path=True, layer=9, datatype=0))  # metal2
fadder2.add(gdstk.FlexPath([(2.13,2.61),(2.13,4.095)], 0.08, ends=(0, 0.04), simple_path=True, layer=9, datatype=0))  # metal2
fadder2.add(gdstk.FlexPath([(2.125,2.085),(2.13,2.085)], 0.08, ends="extended", simple_path=True, layer=9, datatype=0))  # metal2
fadder2.add(gdstk.FlexPath([(2.13,2.61),(2.1,2.61)], 0.08, ends="extended", simple_path=True, layer=9, datatype=0))  # metal2
fadder2.add(gdstk.FlexPath([(2.125,2.35),(2.13,2.35)], 0.08, ends=(0.065, 0.04), simple_path=True, layer=9, datatype=0))  # metal2
fadder2.add(gdstk.FlexPath([(1.725,4.095),(1.715,4.095)], 0.08, ends=(0.065, 0), simple_path=True, layer=9, datatype=0))  # metal2
fadder2.add(gdstk.FlexPath([(2.13,4.095),(1.725,4.095)], 0.08, ends=(0.04, 0.065), simple_path=True, layer=9, datatype=0))  # metal2
fadder2.add(gdstk.FlexPath([(2.37,2.91),(2.37,2.905)], 0.08, ends=(0.04, 0), simple_path=True, layer=9, datatype=0))  # metal2
fadder2.add(gdstk.FlexPath([(2.35,2.555),(2.35,2.525)], 0.08, ends="extended", simple_path=True, layer=9, datatype=0))  # metal2
fadder2.add(gdstk.FlexPath([(2.35,2.525),(2.325,2.525)], 0.08, ends="extended", simple_path=True, layer=9, datatype=0))  # metal2
fadder2.add(gdstk.FlexPath([(2.37,3.21),(2.37,2.905)], 0.08, ends=(0.04, 0.035), simple_path=True, layer=9, datatype=0))  # metal2
fadder2.add(gdstk.FlexPath([(2.325,3.21),(2.37,3.21)], 0.08, ends="extended", simple_path=True, layer=9, datatype=0))  # metal2
fadder2.add(gdstk.FlexPath([(2.325,4.045),(2.325,3.21)], 0.08, ends="extended", simple_path=True, layer=9, datatype=0))  # metal2
fadder2.add(gdstk.FlexPath([(2.325,2.905),(2.37,2.905)], 0.08, ends=(0.04, 0.065), simple_path=True, layer=9, datatype=0))  # metal2
fadder2.add(gdstk.FlexPath([(2.57,2.995),(2.57,3.36)], 0.08, ends="extended", simple_path=True, layer=9, datatype=0))  # metal2
fadder2.add(gdstk.FlexPath([(2.57,3.36),(2.51,3.36)], 0.08, ends="extended", simple_path=True, layer=9, datatype=0))  # metal2
fadder2.add(gdstk.FlexPath([(2.13,2.35),(3.1,2.35)], 0.08, ends=(0.04, 0.065), simple_path=True, layer=9, datatype=0))  # metal2
fadder2.add(gdstk.FlexPath([(2.13,1.775),(2.13,2.085)], 0.08, ends=(0.065, 0.04), simple_path=True, layer=9, datatype=0))  # metal2
fadder2.add(gdstk.FlexPath([(1.53,1.475),(1.53,2.76)], 0.08, ends="extended", simple_path=True, layer=9, datatype=0))  # metal2
fadder2.add(gdstk.FlexPath([(2.325,2.525),(2.325,2.905)], 0.08, ends=(0, 0.04), simple_path=True, layer=9, datatype=0))  # metal2
fadder2.add(gdstk.FlexPath([(1.73,1.94),(1.73,3.72)], 0.08, ends=(0.04, 0), simple_path=True, layer=9, datatype=0))  # metal2
fadder2.add(gdstk.FlexPath([(1.91,1.055),(1.91,3.09)], 0.08, ends=(0.065, 0.04), simple_path=True, layer=9, datatype=0))  # metal2
fadder2.add(gdstk.Reference(pmos1v_cdns_765592389490, (2.835,3.1), rotation=pi/2))
fadder2.add(gdstk.Reference(nmos1v_cdns_765592389491, (1.115,1.6), rotation=3*pi/2, x_reflection=True))
fadder2.add(gdstk.Reference(nmos1v_cdns_765592389492, (1.11,2.475), rotation=3*pi/2, x_reflection=True))
fadder2.add(gdstk.Reference(nmos1v_cdns_765592389493, (1.11,3.145), rotation=3*pi/2, x_reflection=True))
fadder2.add(gdstk.Reference(nmos1v_cdns_765592389493, (1.11,2.635), rotation=pi/2))
fadder2.add(gdstk.Reference(nmos1v_cdns_765592389493, (1.11,3.975), rotation=pi/2))
fadder2.add(gdstk.Reference(pmos1v_cdns_765592389494, (2.835,2.27), rotation=3*pi/2, x_reflection=True))
fadder2.add(gdstk.Reference(pmos1v_cdns_765592389495, (2.835,2.68), rotation=3*pi/2, x_reflection=True))
fadder2.add(gdstk.Reference(pmos1v_cdns_765592389495, (2.835,2.02), rotation=pi/2))
fadder2.add(gdstk.Reference(pmos1v_cdns_765592389495, (2.835,3.77), rotation=pi/2))
fadder2.add(gdstk.Reference(nmos1v_cdns_765592389496, (1.11,2.225), rotation=pi/2))
fadder2.add(gdstk.Reference(pmos1v_cdns_765592389497, (2.835,2.43), rotation=pi/2))
fadder2.add(gdstk.Reference(pmos1v_cdns_765592389498, (2.835,1.6), rotation=3*pi/2, x_reflection=True))
fadder2.add(gdstk.Reference(pmos1v_cdns_765592389499, (2.835,4.02), rotation=3*pi/2, x_reflection=True))
fadder2.add(gdstk.Reference(pmos1v_cdns_765592389499, (2.835,3.35), rotation=3*pi/2, x_reflection=True))
fadder2.add(gdstk.Reference(c_nmos1v_cdns_765592389491, (1.11,2.065), rotation=3*pi/2, x_reflection=True))
fadder2.add(gdstk.Reference(c_nmos1v_cdns_765592389491, (1.11,3.815), rotation=3*pi/2, x_reflection=True))
fadder2.add(gdstk.Reference(c_nmos1v_cdns_765592389491, (1.11,3.305), rotation=pi/2))
fadder2.add(gdstk.Reference(m1_po_cdns_765592389490, (1.5725,3.435), rotation=pi/2))
fadder2.add(gdstk.Reference(m1_po_cdns_765592389490, (0.775,3.02), rotation=pi/2))
fadder2.add(gdstk.Reference(m1_po_cdns_765592389490, (1.545,2.18), rotation=pi/2))
fadder2.add(gdstk.Reference(m1_po_cdns_765592389490, (1.545,1.91), rotation=pi/2))
fadder2.add(gdstk.Reference(m1_po_cdns_765592389490, (1.545,1.325), rotation=pi/2))
fadder2.add(gdstk.Reference(m1_po_cdns_765592389490, (1.86,2.51), rotation=pi/2))
fadder2.add(gdstk.Reference(m2_m1_cdns_765592389491, (1.35,2.555), rotation=pi/2))
fadder2.add(gdstk.Reference(m2_m1_cdns_765592389491, (2.57,2.995), rotation=pi/2))
fadder2.add(gdstk.Reference(m2_m1_cdns_765592389491, (1.725,4.095), rotation=pi/2))
fadder2.add(gdstk.Reference(m2_m1_cdns_765592389491, (2.125,2.35), rotation=pi/2))
fadder2.add(gdstk.Reference(m2_m1_cdns_765592389491, (1.53,2.76), rotation=pi/2))
fadder2.add(gdstk.Reference(m2_m1_cdns_765592389491, (2.35,2.555), rotation=pi/2))
fadder2.add(gdstk.Reference(m2_m1_cdns_765592389491, (2.37,2.91), rotation=pi/2))
fadder2.add(gdstk.Reference(m2_m1_cdns_765592389491, (1.53,1.475), rotation=pi/2))
fadder2.add(gdstk.Reference(m2_m1_cdns_765592389491, (1.725,3.685), rotation=pi/2))
fadder2.add(gdstk.Reference(m2_m1_cdns_765592389491, (1.73,1.94), rotation=pi/2))
fadder2.add(gdstk.Reference(m2_m1_cdns_765592389492, (1.35,3.735), rotation=pi/2))
fadder2.add(gdstk.Reference(m2_m1_cdns_765592389492, (2.125,2.085), rotation=pi/2))
fadder2.add(gdstk.Reference(m2_m1_cdns_765592389492, (2.1,2.61), rotation=pi/2))
fadder2.add(gdstk.Reference(m2_m1_cdns_765592389492, (1.91,3.09), rotation=pi/2))
fadder2.add(gdstk.Reference(m2_m1_cdns_765592389492, (2.325,4.045), rotation=pi/2))
fadder2.add(gdstk.Reference(m1_po_cdns_765592389493, (1.35,3.735), rotation=pi/2))
fadder2.add(gdstk.Reference(m1_po_cdns_765592389493, (2.495,3.36), rotation=pi/2))
fadder2.add(gdstk.Reference(m1_po_cdns_765592389493, (2.125,2.085), rotation=pi/2))
fadder2.add(gdstk.Reference(m1_po_cdns_765592389493, (2.1,2.61), rotation=pi/2))
fadder2.add(gdstk.Reference(m1_po_cdns_765592389493, (1.91,3.09), rotation=pi/2))
fadder2.add(gdstk.Reference(m1_po_cdns_765592389493, (2.325,4.045), rotation=pi/2))
fadder2.add(gdstk.Reference(m2_m1_cdns_765592389494, (0.76,3.57)))
fadder2.add(gdstk.Reference(m2_m1_cdns_765592389494, (3.1,2.35)))
fadder2.add(gdstk.Reference(m2_m1_cdns_765592389494, (2.495,3.36), rotation=pi/2))
fadder2.add(gdstk.Reference(m2_m1_cdns_765592389495, (1.91,1.055), rotation=pi/2))
fadder2.add(gdstk.Reference(m2_m1_cdns_765592389495, (2.13,1.055), rotation=pi/2))
fadder2.add(gdstk.Reference(m1_po_cdns_765592389496, (0.76,3.795)))
fadder2.add(gdstk.Reference(m1_po_cdns_765592389496, (2.91,2.255)))
fadder2.add(gdstk.Reference(m1_po_cdns_765592389496, (2.485,2.05)))
fadder2.add(gdstk.Reference(m1_po_cdns_765592389496, (2.49,2.66)))
fadder2.add(gdstk.Reference(m1_po_cdns_765592389496, (2.91,2.455)))
fadder2.add(gdstk.Reference(m1_po_cdns_765592389496, (0.76,3.33)))
fadder2.add(gdstk.Reference(m1_po_cdns_765592389497, (3.19,1.855)))
fadder2.add(gdstk.Reference(m1_po_cdns_765592389498, (1.355,1.775)))
fadder2.add(gdstk.Reference(m1_po_cdns_765592389498, (3.1,2.6575)))
fadder2.add(gdstk.Reference(m2_m1_cdns_765592389499, (2.13,1.775)))
fadder2.add(gdstk.Label('a', (1.545,0.975), layer=7, texttype=3))
fadder2.add(gdstk.Label('cin', (1.915,1.055), layer=7, texttype=3))
fadder2.add(gdstk.Label('cout', (1.905,4.195), layer=7, texttype=3))
fadder2.add(gdstk.Label('s', (3.075,4.2), layer=7, texttype=3))
fadder2.add(gdstk.Label('b', (2.125,1.055), layer=7, texttype=3))
fadder2.add(gdstk.Label('vdd', (3.41,0.975), layer=7, texttype=3))
fadder2.add(gdstk.Label('gnd', (0.575,0.96), layer=7, texttype=3))

lib.write_gds('FAdder2.gds')
